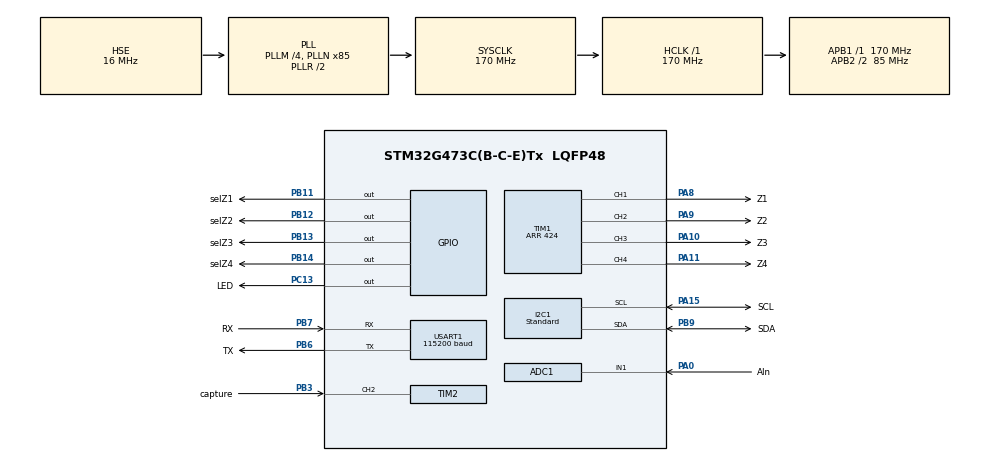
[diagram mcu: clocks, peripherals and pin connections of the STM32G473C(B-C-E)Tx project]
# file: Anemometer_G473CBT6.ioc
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ADC1.Channel-0\#ChannelRegularConversion=ADC_CHANNEL_1
ADC1.ContinuousConvMode=ENABLE
ADC1.DMAContinuousRequests=ENABLE
ADC1.EOCSelection=ADC_EOC_SEQ_CONV
ADC1.ExternalTrigConv=ADC_EXTERNALTRIG_T3_TRGO
ADC1.NbrOfConversionFlag=1
ADC1.OffsetNumber-0\#ChannelRegularConversion=ADC_OFFSET_NONE
ADC1.Rank-0\#ChannelRegularConversion=1
ADC1.SamplingTime-0\#ChannelRegularConversion=ADC_SAMPLETIME_12CYCLES_5
ADC1.master=1
Dma.ADC1.0.Direction=DMA_PERIPH_TO_MEMORY
Dma.ADC1.0.EventEnable=DISABLE
Dma.ADC1.0.Instance=DMA1_Channel1
Dma.ADC1.0.MemDataAlignment=DMA_MDATAALIGN_HALFWORD
Dma.ADC1.0.MemInc=DMA_MINC_ENABLE
Dma.ADC1.0.Mode=DMA_NORMAL
Dma.ADC1.0.PeriphDataAlignment=DMA_PDATAALIGN_HALFWORD
Dma.ADC1.0.PeriphInc=DMA_PINC_DISABLE
Dma.ADC1.0.Polarity=HAL_DMAMUX_REQ_GEN_RISING
Dma.ADC1.0.Priority=DMA_PRIORITY_LOW
Dma.ADC1.0.RequestNumber=1
Dma.ADC1.0.SignalID=NONE
Dma.ADC1.0.SyncEnable=DISABLE
Dma.ADC1.0.SyncPolarity=HAL_DMAMUX_SYNC_NO_EVENT
Dma.ADC1.0.SyncRequestNumber=1
Dma.ADC1.0.SyncSignalID=NONE
Dma.Request0=ADC1
I2C1.I2C_Speed_Mode=I2C_Standard
I2C1.Timing=0x30A0A7FB
Mcu.Family=STM32G4
Mcu.Name=STM32G473C(B-C-E)Tx
Mcu.Package=LQFP48
NVIC.DMA1_Channel1_IRQn=true\:0\:0\:false\:false\:true\:false\:true\:true
NVIC.PriorityGroup=NVIC_PRIORITYGROUP_4
NVIC.TIM2_IRQn=true\:0\:0\:false\:false\:true\:true\:true\:true
NVIC.TIM3_IRQn=true\:0\:0\:false\:false\:true\:true\:true\:true
NVIC.TIM4_IRQn=true\:0\:0\:false\:false\:true\:true\:true\:true
PA0.GPIO_Label=AIn
PA0.Mode=IN1-Single-Ended
PA0.Signal=ADC1_IN1
PA10.GPIO_Label=Z3
PA10.Signal=S_TIM1_CH3
PA11.GPIO_Label=Z4
PA11.Signal=S_TIM1_CH4
PA15.GPIO_Label=SCL
PA15.GPIO_Pu=GPIO_PULLUP
PA15.Mode=I2C
PA15.Signal=I2C1_SCL
PA8.GPIO_Label=Z1
PA8.Signal=S_TIM1_CH1
PA9.GPIO_Label=Z2
PA9.Signal=S_TIM1_CH2
PB11.GPIO_Label=selZ1
PB11.Signal=GPIO_Output
PB12.GPIO_Label=selZ2
PB12.Signal=GPIO_Output
PB13.GPIO_Label=selZ3
PB13.Signal=GPIO_Output
PB14.GPIO_Label=selZ4
PB14.Signal=GPIO_Output
PB3.GPIO_Label=capture
PB3.Signal=S_TIM2_CH2
PB6.GPIO_Label=TX
PB6.Mode=Asynchronous
PB6.Signal=USART1_TX
PB7.GPIO_Label=RX
PB7.Mode=Asynchronous
PB7.Signal=USART1_RX
PB9.GPIO_Label=SDA
PB9.GPIO_Pu=GPIO_PULLUP
PB9.Mode=I2C
PB9.Signal=I2C1_SDA
PC13.GPIO_Label=LED
PC13.Signal=GPIO_Output
PF0-OSC_IN.Mode=HSE-External-Oscillator
PF0-OSC_IN.Signal=RCC_OSC_IN
PF1-OSC_OUT.Mode=HSE-External-Oscillator
PF1-OSC_OUT.Signal=RCC_OSC_OUT
ProjectManager.HeapSize=0x200
ProjectManager.StackSize=0x400
ProjectManager.TargetToolchain=STM32CubeIDE
RCC.ADC12Freq_Value=170000000
RCC.ADC345Freq_Value=170000000
RCC.AHBFreq_Value=170000000
RCC.APB1Freq_Value=170000000
RCC.APB1TimFreq_Value=170000000
RCC.APB2CLKDivider=RCC_HCLK_DIV2
RCC.APB2Freq_Value=85000000
RCC.APB2TimFreq_Value=170000000
RCC.CortexFreq_Value=170000000
RCC.EXTERNAL_CLOCK_VALUE=12288000
RCC.HCLKFreq_Value=170000000
RCC.HSE_VALUE=16000000
RCC.HSI48_VALUE=48000000
RCC.HSI_VALUE=16000000
RCC.LSE_VALUE=32768
RCC.PLLM=RCC_PLLM_DIV4
RCC.PLLN=85
RCC.PLLSourceVirtual=RCC_PLLSOURCE_HSE
RCC.SYSCLKFreq_VALUE=170000000
RCC.SYSCLKSource=RCC_SYSCLKSOURCE_PLLCLK
RCC.USBFreq_Value=170000000
RCC.VCOOutputFreq_Value=340000000
SH.S_TIM1_CH1.0=TIM1_CH1,Output Compare1 CH1
SH.S_TIM1_CH2.0=TIM1_CH2,Output Compare2 CH2
SH.S_TIM1_CH3.0=TIM1_CH3,Output Compare3 CH3
SH.S_TIM1_CH4.0=TIM1_CH4,Output Compare4 CH4
SH.S_TIM2_CH2.0=TIM2_CH2,Input_Capture2_from_TI2
TIM1.AutoReloadPreload=TIM_AUTORELOAD_PRELOAD_ENABLE
TIM1.Channel-Output\ Compare1\ CH1=TIM_CHANNEL_1
TIM1.Channel-Output\ Compare2\ CH2=TIM_CHANNEL_2
TIM1.Channel-Output\ Compare3\ CH3=TIM_CHANNEL_3
TIM1.Channel-Output\ Compare4\ CH4=TIM_CHANNEL_4
TIM1.OCMode_1=TIM_OCMODE_TOGGLE
TIM1.OCMode_2=TIM_OCMODE_TOGGLE
TIM1.OCMode_3=TIM_OCMODE_TOGGLE
TIM1.OCMode_4=TIM_OCMODE_TOGGLE
TIM1.PeriodNoDither=424
TIM1.RepetitionCounter=13
TIM1.TIM_MasterOutputTrigger=TIM_TRGO_UPDATE
TIM1.TIM_MasterOutputTrigger2=TIM_TRGO2_RESET
TIM2.AutoReloadPreload=TIM_AUTORELOAD_PRELOAD_ENABLE
TIM2.Channel-Input_Capture2_from_TI2=TIM_CHANNEL_2
TIM2.PeriodNoDither=4294967295
TIM3.AutoReloadPreload=TIM_AUTORELOAD_PRELOAD_ENABLE
TIM3.Channel-Output\ Compare1\ No\ Output=TIM_CHANNEL_1
TIM3.OCMode_1=TIM_OCMODE_ACTIVE
TIM3.TIM_MasterOutputTrigger=TIM_TRGO_UPDATE
TIM4.Prescaler=12
USART1.BaudRate=115200
USART1.VirtualMode-Asynchronous=VM_ASYNC
VP_TIM1_VS_ClockSourceINT.Mode=Internal
VP_TIM1_VS_OPM.Mode=OPM_bit
VP_TIM2_VS_ClockSourceINT.Mode=Internal
VP_TIM2_VS_ClockSourceITR.Mode=TriggerSource_ITR2
VP_TIM2_VS_ControllerModeReset.Mode=Reset Mode
VP_TIM3_VS_ClockSourceINT.Mode=Internal
VP_TIM3_VS_ClockSourceITR.Mode=TriggerSource_ITR0
VP_TIM3_VS_ControllerModeTrigger.Mode=Trigger Mode
VP_TIM3_VS_OPM.Mode=OPM_bit
VP_TIM3_VS_no_output1.Mode=Output Compare1 No Output
VP_TIM4_VS_ClockSourceINT.Mode=Internal
board=custom

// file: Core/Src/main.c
/* USER CODE BEGIN Header */
/**
  ******************************************************************************
  * @file           : main.c
  * @brief          : Main program body
  ******************************************************************************
  * @attention
  *
  * Copyright (c) 2023 STMicroelectronics.
  * All rights reserved.
  *
  * This software is licensed under terms that can be found in the LICENSE file
  * in the root directory of this software component.
  * If no LICENSE file comes with this software, it is provided AS-IS.
  *
  ******************************************************************************
  */
/* USER CODE END Header */
#include "main.h"

ADC_HandleTypeDef hadc1;
DMA_HandleTypeDef hdma_adc1;

I2C_HandleTypeDef hi2c1;

TIM_HandleTypeDef htim1;
TIM_HandleTypeDef htim2;
TIM_HandleTypeDef htim3;
TIM_HandleTypeDef htim4;

UART_HandleTypeDef huart1;

/* USER CODE BEGIN PV */
uint8_t currentLevel = 0;
uint32_t finishCapture;
char SndBuffer[100];
float32_t convArray[CONVERSION_COUNT + REF_COUNT], hilbertArray[(CONVERSION_COUNT + REF_COUNT) * 2];
/* USER CODE END PV */

void SystemClock_Config(void);
static void MX_GPIO_Init(void);
static void MX_DMA_Init(void);
static void MX_ADC1_Init(void);
static void MX_I2C1_Init(void);
static void MX_TIM1_Init(void);
static void MX_USART1_UART_Init(void);
static void MX_TIM2_Init(void);
static void MX_TIM3_Init(void);
static void MX_TIM4_Init(void);

/* USER CODE BEGIN 0 */
#ifdef  AD5245
/* Управление усилением от 0 до 254 */
void AD5245level(uint8_t lev) {
	uint8_t cmdBuff[2];
	uint16_t cmd = AD5245_WRITE;
	cmdBuff[0] = lev;
	HAL_I2C_Mem_Write(&AD5245_I2C_PORT, AD5245_I2C_ADDR, cmd, 2, cmdBuff, 1, 100);
}
#endif

float refArray[] =
{
		1347.55, 614.54, -474.66, -1336.54, -1488.26, -799.67, 343.95, 1357.38, 1619.65, 985.39, -166.82, -1301.85, -1704.72, -1160.1, 12.45,
		1235.24, 1773.59, 1308.29, 122.42, -1147.58, -1813.45, -1464.24, -324.22, 1036.65, 1828.41, 1569.99, 441.36, -931.83, -1805.72, -1663.17,
		-606.56, 811.31, 1788.38, 1725.1, 691.06, -712.34, -1706.51, -1738.37, -798.06, 584.9, 1659.55, 1749.24, 842.99, -507.71, -1546.54,
		-1691.24, -888.02, 394.57, 1460.61, 1642.36, 886.89, -271, -1318.68, -1530.69, -883.91, 225.23, 1182.27, 1411.78, 833.85, -153.16
};

/* USER CODE END 0 */

int main(void)
{

  /* MCU Configuration--------------------------------------------------------*/

  /* Reset of all peripherals, Initializes the Flash interface and the Systick. */
  HAL_Init();

  /* Configure the system clock */
  SystemClock_Config();

  /* Initialize all configured peripherals */
  MX_GPIO_Init();
  MX_DMA_Init();
  MX_ADC1_Init();
  MX_I2C1_Init();
  MX_TIM1_Init();
  MX_USART1_UART_Init();
  MX_TIM2_Init();
  MX_TIM3_Init();
  MX_TIM4_Init();

  /* Infinite loop */
  /* USER CODE BEGIN WHILE */
  HAL_UART_Transmit(&huart1, (uint8_t *) START_TEXT, REF_COUNT, 1000);

  HAL_GPIO_WritePin(selZ1_GPIO_Port, selZ1_Pin, GPIO_PIN_RESET);
  HAL_GPIO_WritePin(selZ2_GPIO_Port, selZ2_Pin, GPIO_PIN_RESET);
  HAL_GPIO_WritePin(selZ3_GPIO_Port, selZ3_Pin, GPIO_PIN_RESET);
  HAL_GPIO_WritePin(selZ4_GPIO_Port, selZ4_Pin, GPIO_PIN_RESET);

  if ( (HAL_ADCEx_Calibration_Start(&hadc1, ADC_SINGLE_ENDED) == HAL_OK)
	&& (HAL_TIM_Base_Start_IT(&htim3) == HAL_OK)
	&& (HAL_TIM_Base_Start_IT(&htim4) == HAL_OK) ) {
	  HAL_UART_Transmit(&huart1, (uint8_t *) FINISH_TEXT, sizeof(FINISH_TEXT), 1000);
  } else {
	  HAL_UART_Transmit(&huart1, (uint8_t *) ERROR_TEXT, sizeof(ERROR_TEXT), 1000);
	  HAL_Delay(1000);
	  HAL_NVIC_SystemReset();
  }

  /* Test AD5245 */
	#ifdef AD5245
  	  currentLevel = 0;
	  AD5245level(currentLevel);
	#endif

  while (1)
  {
	  if (readyData) {
		  #ifndef RAW_DATA_OUT
		  float maxLev = 0;
		  #endif
		  HAL_TIM_Base_Stop_IT(&htim4);
		  memset(SndBuffer, 0, sizeof(SndBuffer));
		  for (int ii = 0; ii < CONVERSION_COUNT; ii++) {
			measArray[ii] = measArray[ii] / MEASURE_COUNT - avgLevel;
		  }
		  arm_conv_f32(measArray, CONVERSION_COUNT, refArray, REF_COUNT, convArray);
		  arm_rfft_fast_instance_f32 S;
		  arm_rfft_fast_init_f32(&S, CONVERSION_COUNT);
		  memset(hilbertArray, 0, sizeof(hilbertArray));
		  //arm_rhilbert_f32(&S, convArray, hilbertArray);
		  arm_rfft_fast_f32(&S, convArray, hilbertArray, 0);
		  //arm_absmax_f32(convArray, CONVERSION_COUNT * 2 + REF_COUNT, &maxLev, &maxIdxAmp);

		  #ifdef RAW_DATA_OUT
		  //for (int ii = 0; ii < CONVERSION_COUNT + REF_COUNT; ii++) {
			//	sprintf(SndBuffer, "%6.2f \n\r", convArray[ii]);

		  for (int ii = 0; ii < CONVERSION_COUNT; ii++) {
				sprintf(SndBuffer, "%6.2f \n\r", hilbertArray[ii]);
				HAL_UART_Transmit(&huart1, (uint8_t *) SndBuffer, sizeof(SndBuffer), 1000);
		  }
		  HAL_UART_Transmit(&huart1, (uint8_t *) "---\n\r", sizeof("---\n\r"), 1000);
		  #else
		  sprintf(SndBuffer, "Idx:%lu, maxLev: %6.2f, avgLev:%6.2f, CAP: %lu, V: %5.2f, Vc:%5.2f  \r",
				  maxIdxAmp, maxLev, avgLevel, finishCapture,
				  204000 / ((float) 1/72 * (MEASURMENT_DALAY + finishCapture)),
				  204000 / ((float) 1/72 * (MEASURMENT_DALAY + maxIdxAmp * SAMPLE_RATE )));
		  HAL_UART_Transmit(&huart1, (uint8_t *) SndBuffer, sizeof(SndBuffer), 1000);
		  #endif
		  HAL_TIM_Base_Start_IT(&htim4);
		  readyData = false;
	  }
	  //HAL_GPIO_WritePin(LED_GPIO_Port, LED_Pin, GPIO_PIN_SET);
	  //HAL_Delay(100);
	  //HAL_GPIO_WritePin(LED_GPIO_Port, LED_Pin, GPIO_PIN_RESET);
	  HAL_Delay(100);
    /* USER CODE END WHILE */

  }
}

void SystemClock_Config(void)
{
  RCC_OscInitTypeDef RCC_OscInitStruct = {0};
  RCC_ClkInitTypeDef RCC_ClkInitStruct = {0};

  /** Configure the main internal regulator output voltage
  */
  HAL_PWREx_ControlVoltageScaling(PWR_REGULATOR_VOLTAGE_SCALE1_BOOST);

  /** Initializes the RCC Oscillators according to the specified parameters
  * in the RCC_OscInitTypeDef structure.
  */
  RCC_OscInitStruct.OscillatorType = RCC_OSCILLATORTYPE_HSE;
  RCC_OscInitStruct.HSEState = RCC_HSE_ON;
  RCC_OscInitStruct.PLL.PLLState = RCC_PLL_ON;
  RCC_OscInitStruct.PLL.PLLSource = RCC_PLLSOURCE_HSE;
  RCC_OscInitStruct.PLL.PLLM = RCC_PLLM_DIV4;
  RCC_OscInitStruct.PLL.PLLN = 85;
  RCC_OscInitStruct.PLL.PLLP = RCC_PLLP_DIV2;
  RCC_OscInitStruct.PLL.PLLQ = RCC_PLLQ_DIV2;
  RCC_OscInitStruct.PLL.PLLR = RCC_PLLR_DIV2;
  if (HAL_RCC_OscConfig(&RCC_OscInitStruct) != HAL_OK)
  {
    Error_Handler();
  }

  /** Initializes the CPU, AHB and APB buses clocks
  */
  RCC_ClkInitStruct.ClockType = RCC_CLOCKTYPE_HCLK|RCC_CLOCKTYPE_SYSCLK
                              |RCC_CLOCKTYPE_PCLK1|RCC_CLOCKTYPE_PCLK2;
  RCC_ClkInitStruct.SYSCLKSource = RCC_SYSCLKSOURCE_PLLCLK;
  RCC_ClkInitStruct.AHBCLKDivider = RCC_SYSCLK_DIV1;
  RCC_ClkInitStruct.APB1CLKDivider = RCC_HCLK_DIV1;
  RCC_ClkInitStruct.APB2CLKDivider = RCC_HCLK_DIV2;

  if (HAL_RCC_ClockConfig(&RCC_ClkInitStruct, FLASH_LATENCY_4) != HAL_OK)
  {
    Error_Handler();
  }
}

static void MX_ADC1_Init(void)
{

  ADC_MultiModeTypeDef multimode = {0};
  ADC_ChannelConfTypeDef sConfig = {0};

  /** Common config
  */
  hadc1.Instance = ADC1;
  hadc1.Init.ClockPrescaler = ADC_CLOCK_SYNC_PCLK_DIV4;
  hadc1.Init.Resolution = ADC_RESOLUTION_12B;
  hadc1.Init.DataAlign = ADC_DATAALIGN_RIGHT;
  hadc1.Init.GainCompensation = 0;
  hadc1.Init.ScanConvMode = ADC_SCAN_DISABLE;
  hadc1.Init.EOCSelection = ADC_EOC_SEQ_CONV;
  hadc1.Init.LowPowerAutoWait = DISABLE;
  hadc1.Init.ContinuousConvMode = ENABLE;
  hadc1.Init.NbrOfConversion = 1;
  hadc1.Init.DiscontinuousConvMode = DISABLE;
  hadc1.Init.ExternalTrigConv = ADC_EXTERNALTRIG_T3_TRGO;
  hadc1.Init.ExternalTrigConvEdge = ADC_EXTERNALTRIGCONVEDGE_RISING;
  hadc1.Init.DMAContinuousRequests = ENABLE;
  hadc1.Init.Overrun = ADC_OVR_DATA_PRESERVED;
  hadc1.Init.OversamplingMode = DISABLE;
  if (HAL_ADC_Init(&hadc1) != HAL_OK)
  {
    Error_Handler();
  }

  /** Configure the ADC multi-mode
  */
  multimode.Mode = ADC_MODE_INDEPENDENT;
  if (HAL_ADCEx_MultiModeConfigChannel(&hadc1, &multimode) != HAL_OK)
  {
    Error_Handler();
  }

  /** Configure Regular Channel
  */
  sConfig.Channel = ADC_CHANNEL_1;
  sConfig.Rank = ADC_REGULAR_RANK_1;
  sConfig.SamplingTime = ADC_SAMPLETIME_12CYCLES_5;
  sConfig.SingleDiff = ADC_SINGLE_ENDED;
  sConfig.OffsetNumber = ADC_OFFSET_NONE;
  sConfig.Offset = 0;
  if (HAL_ADC_ConfigChannel(&hadc1, &sConfig) != HAL_OK)
  {
    Error_Handler();
  }

}

static void MX_I2C1_Init(void)
{

  hi2c1.Instance = I2C1;
  hi2c1.Init.Timing = 0x30A0A7FB;
  hi2c1.Init.OwnAddress1 = 0;
  hi2c1.Init.AddressingMode = I2C_ADDRESSINGMODE_7BIT;
  hi2c1.Init.DualAddressMode = I2C_DUALADDRESS_DISABLE;
  hi2c1.Init.OwnAddress2 = 0;
  hi2c1.Init.OwnAddress2Masks = I2C_OA2_NOMASK;
  hi2c1.Init.GeneralCallMode = I2C_GENERALCALL_DISABLE;
  hi2c1.Init.NoStretchMode = I2C_NOSTRETCH_DISABLE;
  if (HAL_I2C_Init(&hi2c1) != HAL_OK)
  {
    Error_Handler();
  }

  /** Configure Analogue filter
  */
  if (HAL_I2CEx_ConfigAnalogFilter(&hi2c1, I2C_ANALOGFILTER_ENABLE) != HAL_OK)
  {
    Error_Handler();
  }

  /** Configure Digital filter
  */
  if (HAL_I2CEx_ConfigDigitalFilter(&hi2c1, 0) != HAL_OK)
  {
    Error_Handler();
  }

}

static void MX_TIM1_Init(void)
{

  TIM_ClockConfigTypeDef sClockSourceConfig = {0};
  TIM_MasterConfigTypeDef sMasterConfig = {0};
  TIM_OC_InitTypeDef sConfigOC = {0};
  TIM_BreakDeadTimeConfigTypeDef sBreakDeadTimeConfig = {0};

  htim1.Instance = TIM1;
  htim1.Init.Prescaler = 0;
  htim1.Init.CounterMode = TIM_COUNTERMODE_UP;
  htim1.Init.Period = 424;
  htim1.Init.ClockDivision = TIM_CLOCKDIVISION_DIV1;
  htim1.Init.RepetitionCounter = 13;
  htim1.Init.AutoReloadPreload = TIM_AUTORELOAD_PRELOAD_ENABLE;
  if (HAL_TIM_Base_Init(&htim1) != HAL_OK)
  {
    Error_Handler();
  }
  sClockSourceConfig.ClockSource = TIM_CLOCKSOURCE_INTERNAL;
  if (HAL_TIM_ConfigClockSource(&htim1, &sClockSourceConfig) != HAL_OK)
  {
    Error_Handler();
  }
  if (HAL_TIM_OC_Init(&htim1) != HAL_OK)
  {
    Error_Handler();
  }
  if (HAL_TIM_OnePulse_Init(&htim1, TIM_OPMODE_SINGLE) != HAL_OK)
  {
    Error_Handler();
  }
  sMasterConfig.MasterOutputTrigger = TIM_TRGO_UPDATE;
  sMasterConfig.MasterOutputTrigger2 = TIM_TRGO2_RESET;
  sMasterConfig.MasterSlaveMode = TIM_MASTERSLAVEMODE_DISABLE;
  if (HAL_TIMEx_MasterConfigSynchronization(&htim1, &sMasterConfig) != HAL_OK)
  {
    Error_Handler();
  }
  sConfigOC.OCMode = TIM_OCMODE_TOGGLE;
  sConfigOC.Pulse = 0;
  sConfigOC.OCPolarity = TIM_OCPOLARITY_HIGH;
  sConfigOC.OCNPolarity = TIM_OCNPOLARITY_HIGH;
  sConfigOC.OCFastMode = TIM_OCFAST_DISABLE;
  sConfigOC.OCIdleState = TIM_OCIDLESTATE_RESET;
  sConfigOC.OCNIdleState = TIM_OCNIDLESTATE_RESET;
  if (HAL_TIM_OC_ConfigChannel(&htim1, &sConfigOC, TIM_CHANNEL_1) != HAL_OK)
  {
    Error_Handler();
  }
  if (HAL_TIM_OC_ConfigChannel(&htim1, &sConfigOC, TIM_CHANNEL_2) != HAL_OK)
  {
    Error_Handler();
  }
  if (HAL_TIM_OC_ConfigChannel(&htim1, &sConfigOC, TIM_CHANNEL_3) != HAL_OK)
  {
    Error_Handler();
  }
  if (HAL_TIM_OC_ConfigChannel(&htim1, &sConfigOC, TIM_CHANNEL_4) != HAL_OK)
  {
    Error_Handler();
  }
  sBreakDeadTimeConfig.OffStateRunMode = TIM_OSSR_DISABLE;
  sBreakDeadTimeConfig.OffStateIDLEMode = TIM_OSSI_DISABLE;
  sBreakDeadTimeConfig.LockLevel = TIM_LOCKLEVEL_OFF;
  sBreakDeadTimeConfig.DeadTime = 0;
  sBreakDeadTimeConfig.BreakState = TIM_BREAK_DISABLE;
  sBreakDeadTimeConfig.BreakPolarity = TIM_BREAKPOLARITY_HIGH;
  sBreakDeadTimeConfig.BreakFilter = 0;
  sBreakDeadTimeConfig.BreakAFMode = TIM_BREAK_AFMODE_INPUT;
  sBreakDeadTimeConfig.Break2State = TIM_BREAK2_DISABLE;
  sBreakDeadTimeConfig.Break2Polarity = TIM_BREAK2POLARITY_HIGH;
  sBreakDeadTimeConfig.Break2Filter = 0;
  sBreakDeadTimeConfig.Break2AFMode = TIM_BREAK_AFMODE_INPUT;
  sBreakDeadTimeConfig.AutomaticOutput = TIM_AUTOMATICOUTPUT_DISABLE;
  if (HAL_TIMEx_ConfigBreakDeadTime(&htim1, &sBreakDeadTimeConfig) != HAL_OK)
  {
    Error_Handler();
  }
  HAL_TIM_MspPostInit(&htim1);

}

static void MX_TIM2_Init(void)
{

  TIM_ClockConfigTypeDef sClockSourceConfig = {0};
  TIM_SlaveConfigTypeDef sSlaveConfig = {0};
  TIM_MasterConfigTypeDef sMasterConfig = {0};
  TIM_IC_InitTypeDef sConfigIC = {0};

  htim2.Instance = TIM2;
  htim2.Init.Prescaler = 0;
  htim2.Init.CounterMode = TIM_COUNTERMODE_UP;
  htim2.Init.Period = 4.294967295E9;
  htim2.Init.ClockDivision = TIM_CLOCKDIVISION_DIV1;
  htim2.Init.AutoReloadPreload = TIM_AUTORELOAD_PRELOAD_ENABLE;
  if (HAL_TIM_Base_Init(&htim2) != HAL_OK)
  {
    Error_Handler();
  }
  sClockSourceConfig.ClockSource = TIM_CLOCKSOURCE_INTERNAL;
  if (HAL_TIM_ConfigClockSource(&htim2, &sClockSourceConfig) != HAL_OK)
  {
    Error_Handler();
  }
  if (HAL_TIM_IC_Init(&htim2) != HAL_OK)
  {
    Error_Handler();
  }
  sSlaveConfig.SlaveMode = TIM_SLAVEMODE_RESET;
  sSlaveConfig.InputTrigger = TIM_TS_ITR2;
  if (HAL_TIM_SlaveConfigSynchro(&htim2, &sSlaveConfig) != HAL_OK)
  {
    Error_Handler();
  }
  sMasterConfig.MasterOutputTrigger = TIM_TRGO_RESET;
  sMasterConfig.MasterSlaveMode = TIM_MASTERSLAVEMODE_DISABLE;
  if (HAL_TIMEx_MasterConfigSynchronization(&htim2, &sMasterConfig) != HAL_OK)
  {
    Error_Handler();
  }
  sConfigIC.ICPolarity = TIM_INPUTCHANNELPOLARITY_RISING;
  sConfigIC.ICSelection = TIM_ICSELECTION_DIRECTTI;
  sConfigIC.ICPrescaler = TIM_ICPSC_DIV1;
  sConfigIC.ICFilter = 0;
  if (HAL_TIM_IC_ConfigChannel(&htim2, &sConfigIC, TIM_CHANNEL_2) != HAL_OK)
  {
    Error_Handler();
  }

}

static void MX_TIM3_Init(void)
{

  TIM_ClockConfigTypeDef sClockSourceConfig = {0};
  TIM_SlaveConfigTypeDef sSlaveConfig = {0};
  TIM_MasterConfigTypeDef sMasterConfig = {0};
  TIM_OC_InitTypeDef sConfigOC = {0};

  htim3.Instance = TIM3;
  htim3.Init.Prescaler = 0;
  htim3.Init.CounterMode = TIM_COUNTERMODE_UP;
  htim3.Init.Period = 65535;
  htim3.Init.ClockDivision = TIM_CLOCKDIVISION_DIV1;
  htim3.Init.AutoReloadPreload = TIM_AUTORELOAD_PRELOAD_ENABLE;
  if (HAL_TIM_Base_Init(&htim3) != HAL_OK)
  {
    Error_Handler();
  }
  sClockSourceConfig.ClockSource = TIM_CLOCKSOURCE_INTERNAL;
  if (HAL_TIM_ConfigClockSource(&htim3, &sClockSourceConfig) != HAL_OK)
  {
    Error_Handler();
  }
  if (HAL_TIM_OC_Init(&htim3) != HAL_OK)
  {
    Error_Handler();
  }
  if (HAL_TIM_OnePulse_Init(&htim3, TIM_OPMODE_SINGLE) != HAL_OK)
  {
    Error_Handler();
  }
  sSlaveConfig.SlaveMode = TIM_SLAVEMODE_TRIGGER;
  sSlaveConfig.InputTrigger = TIM_TS_ITR0;
  if (HAL_TIM_SlaveConfigSynchro(&htim3, &sSlaveConfig) != HAL_OK)
  {
    Error_Handler();
  }
  sMasterConfig.MasterOutputTrigger = TIM_TRGO_UPDATE;
  sMasterConfig.MasterSlaveMode = TIM_MASTERSLAVEMODE_DISABLE;
  if (HAL_TIMEx_MasterConfigSynchronization(&htim3, &sMasterConfig) != HAL_OK)
  {
    Error_Handler();
  }
  sConfigOC.OCMode = TIM_OCMODE_ACTIVE;
  sConfigOC.Pulse = 0;
  sConfigOC.OCPolarity = TIM_OCPOLARITY_HIGH;
  sConfigOC.OCFastMode = TIM_OCFAST_DISABLE;
  if (HAL_TIM_OC_ConfigChannel(&htim3, &sConfigOC, TIM_CHANNEL_1) != HAL_OK)
  {
    Error_Handler();
  }

}

static void MX_TIM4_Init(void)
{

  TIM_ClockConfigTypeDef sClockSourceConfig = {0};
  TIM_MasterConfigTypeDef sMasterConfig = {0};

  htim4.Instance = TIM4;
  htim4.Init.Prescaler = 12;
  htim4.Init.CounterMode = TIM_COUNTERMODE_UP;
  htim4.Init.Period = 65535;
  htim4.Init.ClockDivision = TIM_CLOCKDIVISION_DIV1;
  htim4.Init.AutoReloadPreload = TIM_AUTORELOAD_PRELOAD_DISABLE;
  if (HAL_TIM_Base_Init(&htim4) != HAL_OK)
  {
    Error_Handler();
  }
  sClockSourceConfig.ClockSource = TIM_CLOCKSOURCE_INTERNAL;
  if (HAL_TIM_ConfigClockSource(&htim4, &sClockSourceConfig) != HAL_OK)
  {
    Error_Handler();
  }
  sMasterConfig.MasterOutputTrigger = TIM_TRGO_RESET;
  sMasterConfig.MasterSlaveMode = TIM_MASTERSLAVEMODE_DISABLE;
  if (HAL_TIMEx_MasterConfigSynchronization(&htim4, &sMasterConfig) != HAL_OK)
  {
    Error_Handler();
  }

}

static void MX_USART1_UART_Init(void)
{

  huart1.Instance = USART1;
  huart1.Init.BaudRate = 115200;
  huart1.Init.WordLength = UART_WORDLENGTH_8B;
  huart1.Init.StopBits = UART_STOPBITS_1;
  huart1.Init.Parity = UART_PARITY_NONE;
  huart1.Init.Mode = UART_MODE_TX_RX;
  huart1.Init.HwFlowCtl = UART_HWCONTROL_NONE;
  huart1.Init.OverSampling = UART_OVERSAMPLING_16;
  huart1.Init.OneBitSampling = UART_ONE_BIT_SAMPLE_DISABLE;
  huart1.Init.ClockPrescaler = UART_PRESCALER_DIV1;
  huart1.AdvancedInit.AdvFeatureInit = UART_ADVFEATURE_NO_INIT;
  if (HAL_UART_Init(&huart1) != HAL_OK)
  {
    Error_Handler();
  }
  if (HAL_UARTEx_SetTxFifoThreshold(&huart1, UART_TXFIFO_THRESHOLD_1_8) != HAL_OK)
  {
    Error_Handler();
  }
  if (HAL_UARTEx_SetRxFifoThreshold(&huart1, UART_RXFIFO_THRESHOLD_1_8) != HAL_OK)
  {
    Error_Handler();
  }
  if (HAL_UARTEx_DisableFifoMode(&huart1) != HAL_OK)
  {
    Error_Handler();
  }

}

static void MX_DMA_Init(void)
{

  /* DMA controller clock enable */
  __HAL_RCC_DMAMUX1_CLK_ENABLE();
  __HAL_RCC_DMA1_CLK_ENABLE();

  /* DMA interrupt init */
  /* DMA1_Channel1_IRQn interrupt configuration */
  HAL_NVIC_SetPriority(DMA1_Channel1_IRQn, 0, 0);
  HAL_NVIC_EnableIRQ(DMA1_Channel1_IRQn);

}

static void MX_GPIO_Init(void)
{
  GPIO_InitTypeDef GPIO_InitStruct = {0};

  /* GPIO Ports Clock Enable */
  __HAL_RCC_GPIOC_CLK_ENABLE();
  __HAL_RCC_GPIOF_CLK_ENABLE();
  __HAL_RCC_GPIOA_CLK_ENABLE();
  __HAL_RCC_GPIOB_CLK_ENABLE();

  /*Configure GPIO pin Output Level */
  HAL_GPIO_WritePin(LED_GPIO_Port, LED_Pin, GPIO_PIN_RESET);

  /*Configure GPIO pin Output Level */
  HAL_GPIO_WritePin(GPIOB, selZ1_Pin|selZ2_Pin|selZ3_Pin|selZ4_Pin, GPIO_PIN_RESET);

  /*Configure GPIO pin : LED_Pin */
  GPIO_InitStruct.Pin = LED_Pin;
  GPIO_InitStruct.Mode = GPIO_MODE_OUTPUT_PP;
  GPIO_InitStruct.Pull = GPIO_NOPULL;
  GPIO_InitStruct.Speed = GPIO_SPEED_FREQ_LOW;
  HAL_GPIO_Init(LED_GPIO_Port, &GPIO_InitStruct);

  /*Configure GPIO pins : selZ1_Pin selZ2_Pin selZ3_Pin selZ4_Pin */
  GPIO_InitStruct.Pin = selZ1_Pin|selZ2_Pin|selZ3_Pin|selZ4_Pin;
  GPIO_InitStruct.Mode = GPIO_MODE_OUTPUT_PP;
  GPIO_InitStruct.Pull = GPIO_NOPULL;
  GPIO_InitStruct.Speed = GPIO_SPEED_FREQ_LOW;
  HAL_GPIO_Init(GPIOB, &GPIO_InitStruct);

}

void Error_Handler(void)
{
  __disable_irq();
  while (1)
  {
  }
}
